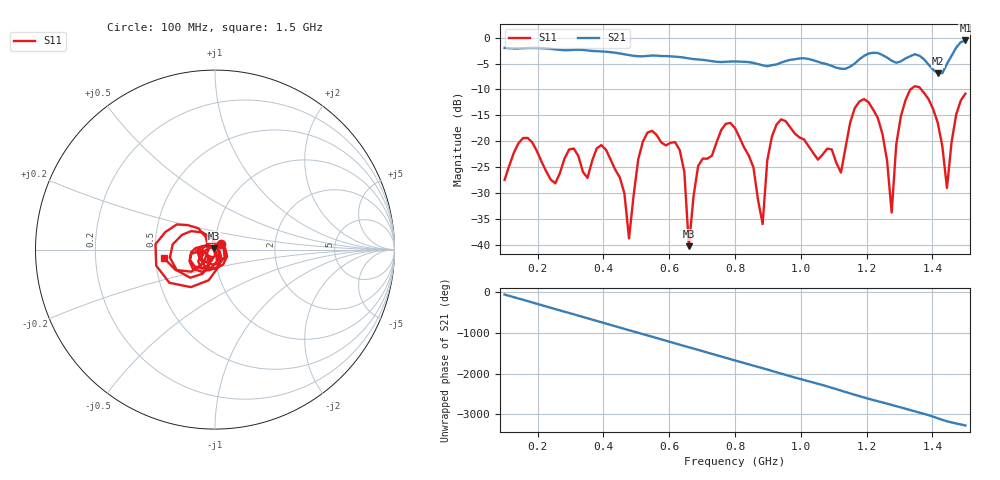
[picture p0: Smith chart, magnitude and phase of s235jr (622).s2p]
! NanoVNA-App
! Date: 2025-09-25 15:09:00
! Start: 100MHz Stop: 1,5GHz Points: 101
! S-Parameter data: F S11 S21 S12 S22
# Hz S RI R 50
!  Frequency  S11_Real  S11_Imag  S21_Real  S21_Imag  S12_Real  S12_Imag  S22_Real  S22_Imag
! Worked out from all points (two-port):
!   101 points, 100 MHz to 1.5 GHz, reference 50 ohm
!   highest |S21| = -0.54 dB at 1.5 GHz (marker M1); lowest = -6.9 dB at 1.416 GHz (marker M2)
!   |S21| within 3 dB of the highest: start of sweep to 497.9 MHz; 1.192 GHz to 1.253 GHz (61.69 MHz wide, 5.05 % of centre)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
!   lowest |S11| = -40.3 dB at 660 MHz (marker M3), VSWR 1.02, Z = 49.3 + j0.635 ohm
!   |S11| at or under -10 dB: start of sweep to 1.333 GHz; 1.366 GHz to end of sweep
!   S12 and S22 are empty: the file has one direction only
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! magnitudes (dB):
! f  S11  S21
! 100 MHz  -27.5  -2.0
! 156 MHz  -19.4  -2.0
! 338 MHz  -25.9  -2.4
! 408 MHz  -21.7  -2.7
! 478 MHz  -38.8  -3.4
! 520 MHz  -20.1  -3.6
! 576 MHz  -20.3  -3.5
! 632 MHz  -21.7  -3.7
! 660 MHz  -40.3  -4.0
! 688 MHz  -24.8  -4.2
! 800 MHz  -17.5  -4.6
! 884 MHz  -36.0  -5.3
! 926 MHz  -16.8  -5.2
! 1.038 GHz  -22.3  -4.4
! 1.122 GHz  -26.1  -6.0
! 1.206 GHz  -12.5  -3.1
! 1.276 GHz  -33.8  -4.5
! 1.29 GHz  -20.6  -4.8
! 1.332 GHz  -10.1  -3.6
! 1.416 GHz  -16.4  -6.9
! 1.444 GHz  -29.0  -5.1
! 1.5 GHz  -10.8  -0.5
